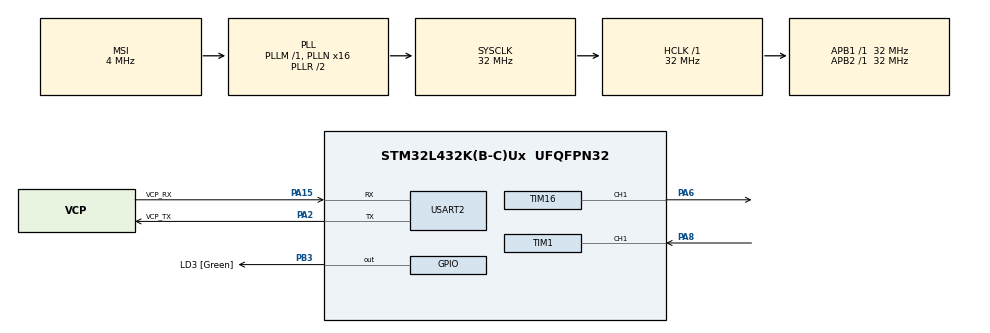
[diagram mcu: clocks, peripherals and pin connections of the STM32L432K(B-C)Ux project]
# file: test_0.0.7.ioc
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Mcu.Family=STM32L4
Mcu.Name=STM32L432K(B-C)Ux
Mcu.Package=UFQFPN32
NVIC.PriorityGroup=NVIC_PRIORITYGROUP_4
NVIC.TIM1_CC_IRQn=true\:0\:0\:false\:false\:true\:true\:true
PA0.GPIO_Label=MCO [High speed clock in]
PA0.Mode=HSE-External-Clock-Source-for-LittleOrca
PA0.Signal=RCC_CK_IN
PA13\ (JTMS-SWDIO).GPIO_Label=SWDIO
PA13\ (JTMS-SWDIO).Mode=Serial_Wire
PA13\ (JTMS-SWDIO).Signal=SYS_JTMS-SWDIO
PA14\ (JTCK-SWCLK).GPIO_Label=SWCLK
PA14\ (JTCK-SWCLK).Mode=Serial_Wire
PA14\ (JTCK-SWCLK).Signal=SYS_JTCK-SWCLK
PA15\ (JTDI).GPIO_Label=VCP_RX
PA15\ (JTDI).Mode=Asynchronous
PA15\ (JTDI).Signal=USART2_RX
PA2.GPIO_Label=VCP_TX
PA2.Mode=Asynchronous
PA2.Signal=USART2_TX
PA6.Signal=S_TIM16_CH1
PA8.Signal=S_TIM1_CH1
PB3\ (JTDO-TRACESWO).GPIO_Label=LD3 [Green]
PB3\ (JTDO-TRACESWO).Signal=GPIO_Output
PC14-OSC32_IN\ (PC14).Mode=LSE-External-Oscillator
PC14-OSC32_IN\ (PC14).Signal=RCC_OSC32_IN
PC15-OSC32_OUT\ (PC15).Mode=LSE-External-Oscillator
PC15-OSC32_OUT\ (PC15).Signal=RCC_OSC32_OUT
ProjectManager.HeapSize=0x200
ProjectManager.StackSize=0x400
ProjectManager.TargetToolchain=Makefile
RCC.AHBFreq_Value=32000000
RCC.APB1Freq_Value=32000000
RCC.APB1TimFreq_Value=32000000
RCC.APB2Freq_Value=32000000
RCC.APB2TimFreq_Value=32000000
RCC.CortexFreq_Value=32000000
RCC.HCLKFreq_Value=32000000
RCC.HSE_VALUE=8000000
RCC.HSI16_VALUE=16000000
RCC.HSI48_VALUE=48000000
RCC.HSI_VALUE=16000000
RCC.MSI_VALUE=4000000
RCC.PLLMUL=RCC_PLLMUL_4
RCC.PLLN=16
RCC.SYSCLKFreq_VALUE=32000000
RCC.SYSCLKSource=RCC_SYSCLKSOURCE_PLLCLK
RCC.VCOOutputFreq_Value=64000000
SH.S_TIM16_CH1.0=TIM16_CH1,PWM Generation1 CH1
SH.S_TIM1_CH1.0=TIM1_CH1,Input_Capture1_from_TI1
TIM1.Channel-Input_Capture1_from_TI1=TIM_CHANNEL_1
TIM1.ICPolarity_CH1=TIM_INPUTCHANNELPOLARITY_BOTHEDGE
TIM1.Period=50000
TIM1.Prescaler=32-1
TIM16.Channel=TIM_CHANNEL_1
TIM16.OCMode_PWM=TIM_OCMODE_PWM2
TIM16.Period=65535
TIM16.Prescaler=32-1
TIM16.Pulse=0
USART2.VirtualMode-Asynchronous=VM_ASYNC
VP_TIM16_VS_ClockSourceINT.Mode=Enable_Timer
board=NUCLEO-L432KC

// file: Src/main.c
/* USER CODE BEGIN Header */
/**
  ******************************************************************************
  * @file           : main.c
  * @brief          : Main program body
  ******************************************************************************
  * @attention
  *
  * <h2><center>&copy; Copyright (c) 2021 STMicroelectronics.
  * All rights reserved.</center></h2>
  *
  * This software component is licensed by ST under BSD 3-Clause license,
  * the "License"; You may not use this file except in compliance with the
  * License. You may obtain a copy of the License at:
  *                        opensource.org/licenses/BSD-3-Clause
  *
  ******************************************************************************
  */
/* USER CODE END Header */
#include "main.h"

/* USER CODE BEGIN Includes */
#include <stdio.h>
#include <string.h>
/* USER CODE END Includes */

TIM_HandleTypeDef htim1;
TIM_HandleTypeDef htim16;

UART_HandleTypeDef huart2;

/* USER CODE BEGIN PV */
volatile uint8_t status = 0; //1 wenn steigende Flanke schon da war
volatile uint16_t rise = 0;  //Compare-Wert bei steigender Flanke
volatile uint16_t fall = 0;  //Compare-Wert bei fallender Flanke
volatile uint16_t difference = 0;  //Differenz zwischen den Flanken
uint8_t buf[15];
volatile int entfernung = 0;
/* USER CODE END PV */

void SystemClock_Config(void);
static void MX_GPIO_Init(void);
static void MX_TIM1_Init(void);
static void MX_USART2_UART_Init(void);
static void MX_TIM16_Init(void);

int main(void)
{

  /* MCU Configuration--------------------------------------------------------*/

  /* Reset of all peripherals, Initializes the Flash interface and the Systick. */
  HAL_Init();

  /* Configure the system clock */
  SystemClock_Config();

  /* Initialize all configured peripherals */
  MX_GPIO_Init();
  MX_TIM1_Init();
  MX_USART2_UART_Init();
  MX_TIM16_Init();
  /* USER CODE BEGIN 2 */
  HAL_TIM_Base_Start_IT(&htim1);
  HAL_TIM_Base_Start(&htim16);
  HAL_TIM_OC_Start(&htim16, TIM_CHANNEL_1);
  TIM16->CCR1 = 10;
  HAL_TIM_IC_Start_IT(&htim1, TIM_CHANNEL_1);

  /* USER CODE END 2 */

  /* Infinite loop */
  /* USER CODE BEGIN WHILE */
  while (1)
  {
  entfernung = difference / 58;
  sprintf((char*)buf, "%d cm\n\r", entfernung);
  HAL_UART_Transmit(&huart2, buf, strlen((char*)buf), 500);
  HAL_Delay(1000);
    /* USER CODE END WHILE */

  }
}

void SystemClock_Config(void)
{
  RCC_OscInitTypeDef RCC_OscInitStruct = {0};
  RCC_ClkInitTypeDef RCC_ClkInitStruct = {0};

  /** Configure the main internal regulator output voltage
  */
  if (HAL_PWREx_ControlVoltageScaling(PWR_REGULATOR_VOLTAGE_SCALE1) != HAL_OK)
  {
    Error_Handler();
  }
  /** Configure LSE Drive Capability
  */
  HAL_PWR_EnableBkUpAccess();
  __HAL_RCC_LSEDRIVE_CONFIG(RCC_LSEDRIVE_LOW);
  /** Initializes the RCC Oscillators according to the specified parameters
  * in the RCC_OscInitTypeDef structure.
  */
  RCC_OscInitStruct.OscillatorType = RCC_OSCILLATORTYPE_LSE|RCC_OSCILLATORTYPE_MSI;
  RCC_OscInitStruct.LSEState = RCC_LSE_ON;
  RCC_OscInitStruct.MSIState = RCC_MSI_ON;
  RCC_OscInitStruct.MSICalibrationValue = 0;
  RCC_OscInitStruct.MSIClockRange = RCC_MSIRANGE_6;
  RCC_OscInitStruct.PLL.PLLState = RCC_PLL_ON;
  RCC_OscInitStruct.PLL.PLLSource = RCC_PLLSOURCE_MSI;
  RCC_OscInitStruct.PLL.PLLM = 1;
  RCC_OscInitStruct.PLL.PLLN = 16;
  RCC_OscInitStruct.PLL.PLLP = RCC_PLLP_DIV7;
  RCC_OscInitStruct.PLL.PLLQ = RCC_PLLQ_DIV2;
  RCC_OscInitStruct.PLL.PLLR = RCC_PLLR_DIV2;
  if (HAL_RCC_OscConfig(&RCC_OscInitStruct) != HAL_OK)
  {
    Error_Handler();
  }
  /** Initializes the CPU, AHB and APB buses clocks
  */
  RCC_ClkInitStruct.ClockType = RCC_CLOCKTYPE_HCLK|RCC_CLOCKTYPE_SYSCLK
                              |RCC_CLOCKTYPE_PCLK1|RCC_CLOCKTYPE_PCLK2;
  RCC_ClkInitStruct.SYSCLKSource = RCC_SYSCLKSOURCE_PLLCLK;
  RCC_ClkInitStruct.AHBCLKDivider = RCC_SYSCLK_DIV1;
  RCC_ClkInitStruct.APB1CLKDivider = RCC_HCLK_DIV1;
  RCC_ClkInitStruct.APB2CLKDivider = RCC_HCLK_DIV1;

  if (HAL_RCC_ClockConfig(&RCC_ClkInitStruct, FLASH_LATENCY_1) != HAL_OK)
  {
    Error_Handler();
  }
  /** Enable MSI Auto calibration
  */
  HAL_RCCEx_EnableMSIPLLMode();
}

static void MX_TIM1_Init(void)
{

  TIM_MasterConfigTypeDef sMasterConfig = {0};
  TIM_IC_InitTypeDef sConfigIC = {0};

  htim1.Instance = TIM1;
  htim1.Init.Prescaler = 32-1;
  htim1.Init.CounterMode = TIM_COUNTERMODE_UP;
  htim1.Init.Period = 50000;
  htim1.Init.ClockDivision = TIM_CLOCKDIVISION_DIV1;
  htim1.Init.RepetitionCounter = 0;
  htim1.Init.AutoReloadPreload = TIM_AUTORELOAD_PRELOAD_DISABLE;
  if (HAL_TIM_IC_Init(&htim1) != HAL_OK)
  {
    Error_Handler();
  }
  sMasterConfig.MasterOutputTrigger = TIM_TRGO_RESET;
  sMasterConfig.MasterOutputTrigger2 = TIM_TRGO2_RESET;
  sMasterConfig.MasterSlaveMode = TIM_MASTERSLAVEMODE_DISABLE;
  if (HAL_TIMEx_MasterConfigSynchronization(&htim1, &sMasterConfig) != HAL_OK)
  {
    Error_Handler();
  }
  sConfigIC.ICPolarity = TIM_INPUTCHANNELPOLARITY_BOTHEDGE;
  sConfigIC.ICSelection = TIM_ICSELECTION_DIRECTTI;
  sConfigIC.ICPrescaler = TIM_ICPSC_DIV1;
  sConfigIC.ICFilter = 0;
  if (HAL_TIM_IC_ConfigChannel(&htim1, &sConfigIC, TIM_CHANNEL_1) != HAL_OK)
  {
    Error_Handler();
  }

}

static void MX_TIM16_Init(void)
{

  TIM_OC_InitTypeDef sConfigOC = {0};
  TIM_BreakDeadTimeConfigTypeDef sBreakDeadTimeConfig = {0};

  htim16.Instance = TIM16;
  htim16.Init.Prescaler = 32-1;
  htim16.Init.CounterMode = TIM_COUNTERMODE_UP;
  htim16.Init.Period = 65535;
  htim16.Init.ClockDivision = TIM_CLOCKDIVISION_DIV1;
  htim16.Init.RepetitionCounter = 0;
  htim16.Init.AutoReloadPreload = TIM_AUTORELOAD_PRELOAD_DISABLE;
  if (HAL_TIM_Base_Init(&htim16) != HAL_OK)
  {
    Error_Handler();
  }
  if (HAL_TIM_PWM_Init(&htim16) != HAL_OK)
  {
    Error_Handler();
  }
  sConfigOC.OCMode = TIM_OCMODE_PWM2;
  sConfigOC.Pulse = 0;
  sConfigOC.OCPolarity = TIM_OCPOLARITY_HIGH;
  sConfigOC.OCNPolarity = TIM_OCNPOLARITY_HIGH;
  sConfigOC.OCFastMode = TIM_OCFAST_DISABLE;
  sConfigOC.OCIdleState = TIM_OCIDLESTATE_RESET;
  sConfigOC.OCNIdleState = TIM_OCNIDLESTATE_RESET;
  if (HAL_TIM_PWM_ConfigChannel(&htim16, &sConfigOC, TIM_CHANNEL_1) != HAL_OK)
  {
    Error_Handler();
  }
  sBreakDeadTimeConfig.OffStateRunMode = TIM_OSSR_DISABLE;
  sBreakDeadTimeConfig.OffStateIDLEMode = TIM_OSSI_DISABLE;
  sBreakDeadTimeConfig.LockLevel = TIM_LOCKLEVEL_OFF;
  sBreakDeadTimeConfig.DeadTime = 0;
  sBreakDeadTimeConfig.BreakState = TIM_BREAK_DISABLE;
  sBreakDeadTimeConfig.BreakPolarity = TIM_BREAKPOLARITY_HIGH;
  sBreakDeadTimeConfig.AutomaticOutput = TIM_AUTOMATICOUTPUT_DISABLE;
  if (HAL_TIMEx_ConfigBreakDeadTime(&htim16, &sBreakDeadTimeConfig) != HAL_OK)
  {
    Error_Handler();
  }
  HAL_TIM_MspPostInit(&htim16);

}

static void MX_USART2_UART_Init(void)
{

  huart2.Instance = USART2;
  huart2.Init.BaudRate = 115200;
  huart2.Init.WordLength = UART_WORDLENGTH_8B;
  huart2.Init.StopBits = UART_STOPBITS_1;
  huart2.Init.Parity = UART_PARITY_NONE;
  huart2.Init.Mode = UART_MODE_TX_RX;
  huart2.Init.HwFlowCtl = UART_HWCONTROL_NONE;
  huart2.Init.OverSampling = UART_OVERSAMPLING_16;
  huart2.Init.OneBitSampling = UART_ONE_BIT_SAMPLE_DISABLE;
  huart2.AdvancedInit.AdvFeatureInit = UART_ADVFEATURE_NO_INIT;
  if (HAL_UART_Init(&huart2) != HAL_OK)
  {
    Error_Handler();
  }

}

static void MX_GPIO_Init(void)
{
  GPIO_InitTypeDef GPIO_InitStruct = {0};

  /* GPIO Ports Clock Enable */
  __HAL_RCC_GPIOC_CLK_ENABLE();
  __HAL_RCC_GPIOA_CLK_ENABLE();
  __HAL_RCC_GPIOB_CLK_ENABLE();

  /*Configure GPIO pin Output Level */
  HAL_GPIO_WritePin(LD3_GPIO_Port, LD3_Pin, GPIO_PIN_RESET);

  /*Configure GPIO pin : LD3_Pin */
  GPIO_InitStruct.Pin = LD3_Pin;
  GPIO_InitStruct.Mode = GPIO_MODE_OUTPUT_PP;
  GPIO_InitStruct.Pull = GPIO_NOPULL;
  GPIO_InitStruct.Speed = GPIO_SPEED_FREQ_LOW;
  HAL_GPIO_Init(LD3_GPIO_Port, &GPIO_InitStruct);

}

/* USER CODE BEGIN 4 */
void HAL_TIM_IC_CaptureCallback(TIM_HandleTypeDef* htim)
{
  if(status == 0)
  {
    rise = __HAL_TIM_GET_COMPARE(&htim1, TIM_CHANNEL_1);
    status = 1;
  }
  else if(status == 1)
  {
    fall = __HAL_TIM_GET_COMPARE(&htim1, TIM_CHANNEL_1);
    if(rise < fall)
    {
      difference = fall-rise;
    } else {
      difference = 50000-rise-fall;

    }
    rise = 0;
    fall = 0;
    status = 0;

  }
}

/* USER CODE END 4 */

void Error_Handler(void)
{
  __disable_irq();
  while (1)
  {
  }
}

/************************ (C) COPYRIGHT STMicroelectronics *****END OF FILE****/
